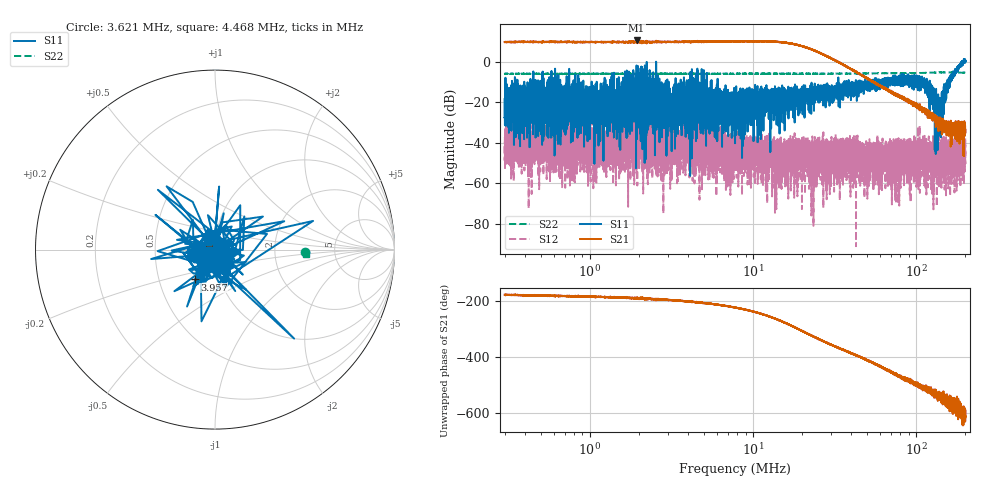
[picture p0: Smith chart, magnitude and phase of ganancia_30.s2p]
# Hz S DB R 50
! CMT, M5065, 19127446, 24.2.4/2
! Date: 11/1/2024 4:32:35 PM
! Data: Format (Calibration Info)
! Freq	S11:dB/Ang(F2)	S21:dB/Ang(F2)	S12:dB/Ang(F2)	S22:dB/Ang(F2)
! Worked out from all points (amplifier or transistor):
!   9000 points, 300 kHz to 200 MHz, reference 50 ohm
!   highest |S21| = 10.6 dB at 1.931 MHz (marker M1)
!   |S21| within 3 dB of that: start of sweep to 20.24 MHz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
!   unconditionally stable (mu >= 1): start of sweep to 2.227 MHz; 2.546 MHz to 189.1 MHz; 189.3 MHz to 190.3 MHz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
!   at 886.8 kHz: K = 17.09, MAG = 11.2 dB, |S12| = -43.2 dB
!   at 7.749 MHz: K = 11.29, MAG = 11.8 dB, |S12| = -40.4 dB
!   at 200 MHz: K = -198.13, MSG = 3.8 dB, |S12| = -41.0 dB
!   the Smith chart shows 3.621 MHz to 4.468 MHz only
!   S11 on the Smith chart (normalised r, x): 3.621 MHz: 0.97, -0.03; 3.957 MHz: 0.76, -0.26; 4.468 MHz: 0.99, -0.02
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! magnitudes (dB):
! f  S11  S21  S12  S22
! 300 kHz  -27.6  9.8  -41.5  -5.9
! 330.7 kHz  -30.8  9.9  -33.8  -6.0
! 886.8 kHz  -20.6  9.9  -43.2  -5.9
! 1.04 MHz  -16.3  9.7  -45.5  -5.9
! 1.162 MHz  -22.8  9.9  -35.5  -5.9
! 1.264 MHz  -20.1  9.8  -36.8  -5.8
! 1.651 MHz  -16.0  9.8  -27.9  -5.9
! 1.931 MHz  -1.7  10.6  -45.1  -5.9
! 2.621 MHz  -29.5  9.9  -49.0  -5.9
! 3.223 MHz  -20.1  9.9  -38.1  -5.8
! 3.621 MHz  -32.9  9.9  -34.8  -6.0
! 3.957 MHz  -13.9  10.0  -38.2  -5.9
! 4.468 MHz  -39.1  10.0  -39.7  -5.9
! 7.749 MHz  -13.9  10.3  -40.4  -5.8
! 22.91 MHz  -20.5  6.0  -43.2  -5.8
! 67.71 MHz  -9.1  -14.3  -45.2  -5.5
! 110.2 MHz  -9.3  -23.5  -46.6  -5.4
! 122.3 MHz  -14.3  -27.1  -43.0  -5.3
! 137.4 MHz  -36.6  -29.4  -36.8  -5.2
! 157.9 MHz  -8.6  -32.5  -47.4  -5.1
! 192.5 MHz  -0.7  -33.6  -58.4  -5.3
! 200 MHz  0.4  -33.5  -41.0  -5.3
